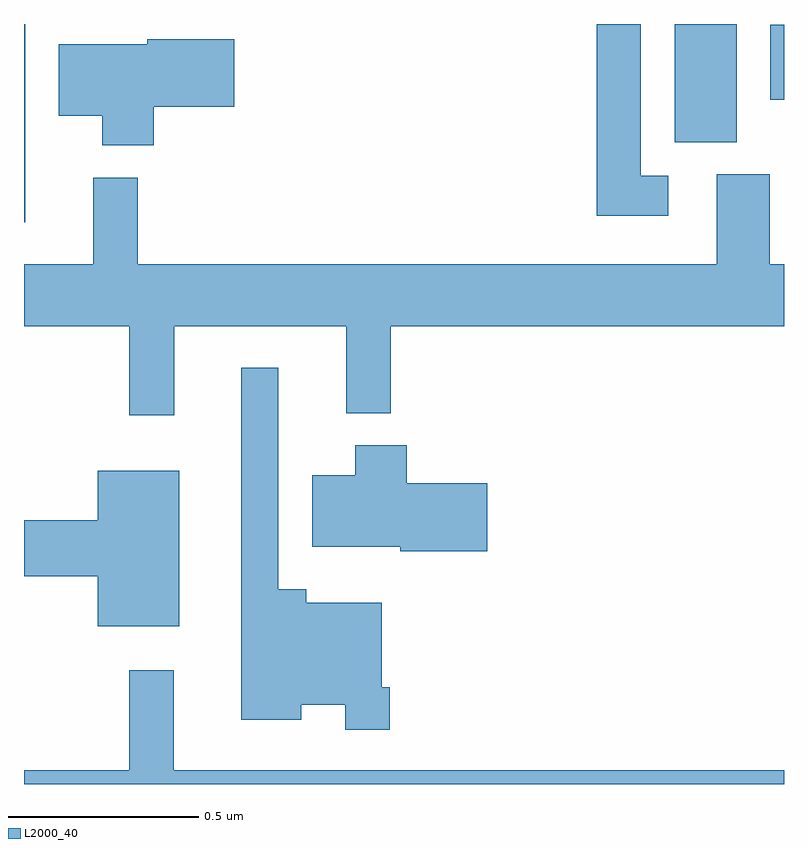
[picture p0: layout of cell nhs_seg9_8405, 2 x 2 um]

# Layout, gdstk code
import gdstk
lib = gdstk.Library(unit=1e-6, precision=1e-09)
def R(c, l, rs):  # rectangles x0, y0, x1, y1
    for r in rs: c.add(gdstk.rectangle(r[:2], r[2:], *l))
def P(c, l, *ps):  # polygons
    for p in ps: c.add(gdstk.Polygon(p, *l))
L2000_40 = (2000, 40)

nhs_seg9_8405 = lib.new_cell('nhs_seg9_8405')
R(nhs_seg9_8405, L2000_40, [(216,1245.978,216.003,1246.5), (217.712,1246.189,217.876,1246.5), (217.964,1246.301,218,1246.498)])
P(nhs_seg9_8405, L2000_40, [(217.696,1246.101),(217.623,1246.101),(217.623,1246.5),(217.507,1246.5),(217.507,1245.996),(217.696,1245.996)],
  [(216.341,1246.282),(216.553,1246.282),(216.553,1246.46),(216.324,1246.46),(216.324,1246.447),(216.092,1246.447),(216.092,1246.259),(216.206,1246.259),(216.206,1246.181),(216.341,1246.181)],
  [(216.395,1245.704),(216.848,1245.704),(216.848,1245.476),(216.965,1245.476),(216.965,1245.704),(218,1245.704),(218,1245.868),(217.963,1245.868),(217.963,1246.104),(217.823,1246.104),(217.823,1245.868),(216.299,1245.868),(216.299,1246.096),(216.182,1246.096),(216.182,1245.868),(216,1245.868),(216,1245.704),(216.277,1245.704),(216.277,1245.471),(216.395,1245.471)],
  [(216.962,1244.755),(216.942,1244.755),(216.942,1244.977),(216.743,1244.977),(216.743,1245.013),(216.669,1245.013),(216.669,1245.595),(216.572,1245.595),(216.572,1244.669),(216.73,1244.669),(216.73,1244.708),(216.846,1244.708),(216.846,1244.643),(216.962,1244.643)],
  [(217.219,1245.291),(217.007,1245.291),(217.007,1245.391),(216.872,1245.391),(216.872,1245.313),(216.758,1245.313),(216.758,1245.125),(216.99,1245.125),(216.99,1245.113),(217.219,1245.113)],
  [(216.409,1245.325),(216.194,1245.325),(216.194,1245.194),(216,1245.194),(216,1245.047),(216.194,1245.047),(216.194,1244.915),(216.409,1244.915)],
  [(218,1244.536),(216.394,1244.536),(216.394,1244.8),(216.277,1244.8),(216.277,1244.536),(216,1244.536),(216,1244.5),(218,1244.5)])

lib.write_gds('nhs_seg9_8405.gds')
